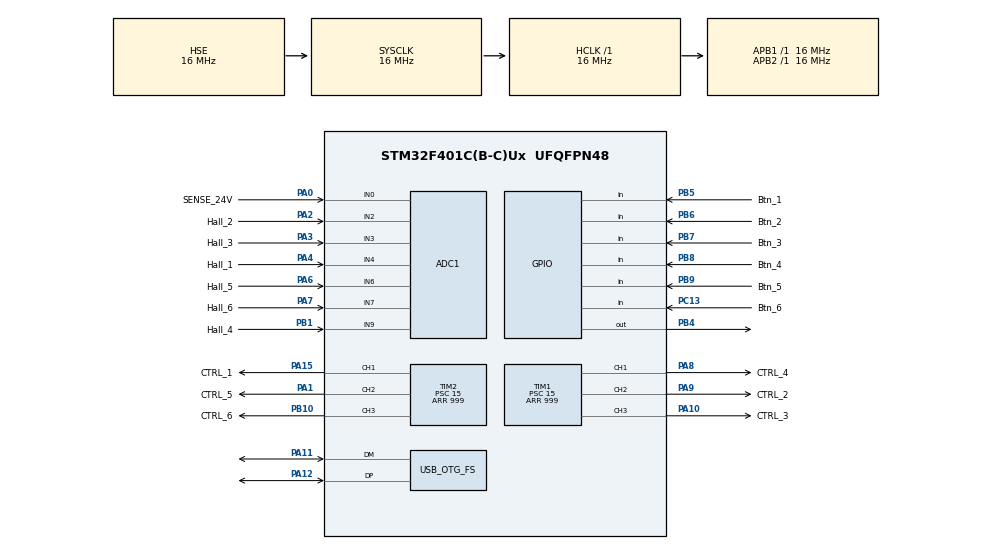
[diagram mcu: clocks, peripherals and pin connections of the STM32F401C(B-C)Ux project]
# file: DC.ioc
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ADC1.Channel-0\#ChannelRegularConversion=ADC_CHANNEL_4
ADC1.Channel-1\#ChannelRegularConversion=ADC_CHANNEL_2
ADC1.Channel-2\#ChannelRegularConversion=ADC_CHANNEL_3
ADC1.Channel-3\#ChannelRegularConversion=ADC_CHANNEL_9
ADC1.Channel-4\#ChannelRegularConversion=ADC_CHANNEL_6
ADC1.Channel-5\#ChannelRegularConversion=ADC_CHANNEL_7
ADC1.Channel-6\#ChannelRegularConversion=ADC_CHANNEL_0
ADC1.DMAContinuousRequests=ENABLE
ADC1.EOCSelection=ADC_EOC_SEQ_CONV
ADC1.ExternalTrigConv=ADC_EXTERNALTRIGCONV_T3_TRGO
ADC1.NbrOfConversion=7
ADC1.NbrOfConversionFlag=1
ADC1.Rank-0\#ChannelRegularConversion=1
ADC1.Rank-1\#ChannelRegularConversion=2
ADC1.Rank-2\#ChannelRegularConversion=3
ADC1.Rank-3\#ChannelRegularConversion=4
ADC1.Rank-4\#ChannelRegularConversion=5
ADC1.Rank-5\#ChannelRegularConversion=6
ADC1.Rank-6\#ChannelRegularConversion=7
ADC1.SamplingTime-0\#ChannelRegularConversion=ADC_SAMPLETIME_144CYCLES
ADC1.SamplingTime-1\#ChannelRegularConversion=ADC_SAMPLETIME_144CYCLES
ADC1.SamplingTime-2\#ChannelRegularConversion=ADC_SAMPLETIME_144CYCLES
ADC1.SamplingTime-3\#ChannelRegularConversion=ADC_SAMPLETIME_144CYCLES
ADC1.SamplingTime-4\#ChannelRegularConversion=ADC_SAMPLETIME_144CYCLES
ADC1.SamplingTime-5\#ChannelRegularConversion=ADC_SAMPLETIME_144CYCLES
ADC1.SamplingTime-6\#ChannelRegularConversion=ADC_SAMPLETIME_144CYCLES
ADC1.ScanConvMode=ENABLE
ADC1.master=1
Dma.ADC1.0.Direction=DMA_PERIPH_TO_MEMORY
Dma.ADC1.0.FIFOMode=DMA_FIFOMODE_DISABLE
Dma.ADC1.0.Instance=DMA2_Stream0
Dma.ADC1.0.MemDataAlignment=DMA_MDATAALIGN_HALFWORD
Dma.ADC1.0.MemInc=DMA_MINC_ENABLE
Dma.ADC1.0.Mode=DMA_CIRCULAR
Dma.ADC1.0.PeriphDataAlignment=DMA_PDATAALIGN_HALFWORD
Dma.ADC1.0.PeriphInc=DMA_PINC_DISABLE
Dma.ADC1.0.Priority=DMA_PRIORITY_LOW
Dma.Request0=ADC1
IWDG.Prescaler=IWDG_PRESCALER_16
IWDG.Reload=1000
Mcu.Family=STM32F4
Mcu.Name=STM32F401C(B-C)Ux
Mcu.Package=UFQFPN48
NVIC.DMA2_Stream0_IRQn=true\:0\:0\:false\:false\:true\:false\:true\:true
NVIC.OTG_FS_IRQn=true\:0\:0\:false\:false\:true\:false\:true\:true
NVIC.PriorityGroup=NVIC_PRIORITYGROUP_4
NVIC.TIM2_IRQn=true\:0\:0\:false\:false\:true\:true\:true\:true
PA0-WKUP.GPIO_Label=SENSE_24V
PA0-WKUP.Signal=ADCx_IN0
PA1.GPIO_Label=CTRL_5
PA1.Signal=S_TIM2_CH2
PA10.GPIO_Label=CTRL_3
PA10.Signal=S_TIM1_CH3
PA11.Mode=Device_Only
PA11.Signal=USB_OTG_FS_DM
PA12.Mode=Device_Only
PA12.Signal=USB_OTG_FS_DP
PA13.Mode=Trace_Asynchronous_SW
PA13.Signal=SYS_JTMS-SWDIO
PA14.Mode=Trace_Asynchronous_SW
PA14.Signal=SYS_JTCK-SWCLK
PA15.GPIO_Label=CTRL_1
PA15.Signal=S_TIM2_CH1_ETR
PA2.GPIO_Label=Hall_2
PA2.Signal=ADCx_IN2
PA3.GPIO_Label=Hall_3
PA3.Signal=ADCx_IN3
PA4.GPIO_Label=Hall_1
PA4.Signal=ADCx_IN4
PA6.GPIO_Label=Hall_5
PA6.Signal=ADCx_IN6
PA7.GPIO_Label=Hall_6
PA7.Signal=ADCx_IN7
PA8.GPIO_Label=CTRL_4
PA8.Signal=S_TIM1_CH1
PA9.GPIO_Label=CTRL_2
PA9.Signal=S_TIM1_CH2
PB1.GPIO_Label=Hall_4
PB1.Signal=ADCx_IN9
PB10.GPIO_Label=CTRL_6
PB10.Signal=S_TIM2_CH3
PB3.Mode=Trace_Asynchronous_SW
PB3.Signal=SYS_JTDO-SWO
PB4.Signal=GPIO_Output
PB5.GPIO_Label=Btn_1
PB5.GPIO_PuPd=GPIO_PULLUP
PB5.Signal=GPIO_Input
PB6.GPIO_Label=Btn_2
PB6.Signal=GPIO_Input
PB7.GPIO_Label=Btn_3
PB7.Signal=GPIO_Input
PB8.GPIO_Label=Btn_4
PB8.GPIO_PuPd=GPIO_PULLUP
PB8.Signal=GPIO_Input
PB9.GPIO_Label=Btn_5
PB9.GPIO_PuPd=GPIO_PULLUP
PB9.Signal=GPIO_Input
PC13-ANTI_TAMP.GPIO_Label=Btn_6
PC13-ANTI_TAMP.Signal=GPIO_Input
PH0\ -\ OSC_IN.Mode=HSE-External-Oscillator
PH0\ -\ OSC_IN.Signal=RCC_OSC_IN
PH1\ -\ OSC_OUT.Mode=HSE-External-Oscillator
PH1\ -\ OSC_OUT.Signal=RCC_OSC_OUT
ProjectManager.HeapSize=0x600
ProjectManager.StackSize=0x400
ProjectManager.TargetToolchain=Makefile
RCC.48MHZClocksFreq_Value=48000000
RCC.AHBFreq_Value=16000000
RCC.APB1Freq_Value=16000000
RCC.APB2Freq_Value=16000000
RCC.CortexFreq_Value=16000000
RCC.HSE_VALUE=16000000
RCC.HSI_VALUE=16000000
RCC.LSE_VALUE=32768
RCC.PLLM=8
RCC.PLLN=72
RCC.PLLQ=3
RCC.SYSCLKFreq_VALUE=16000000
RCC.SYSCLKSource=RCC_SYSCLKSOURCE_HSE
RCC.VCOOutputFreq_Value=144000000
SH.ADCx_IN0.0=ADC1_IN0,IN0
SH.ADCx_IN2.0=ADC1_IN2,IN2
SH.ADCx_IN3.0=ADC1_IN3,IN3
SH.ADCx_IN4.0=ADC1_IN4,IN4
SH.ADCx_IN6.0=ADC1_IN6,IN6
SH.ADCx_IN7.0=ADC1_IN7,IN7
SH.ADCx_IN9.0=ADC1_IN9,IN9
SH.S_TIM1_CH1.0=TIM1_CH1,PWM Generation1 CH1
SH.S_TIM1_CH2.0=TIM1_CH2,PWM Generation2 CH2
SH.S_TIM1_CH3.0=TIM1_CH3,PWM Generation3 CH3
SH.S_TIM2_CH1_ETR.0=TIM2_CH1,PWM Generation1 CH1
SH.S_TIM2_CH2.0=TIM2_CH2,PWM Generation2 CH2
SH.S_TIM2_CH3.0=TIM2_CH3,PWM Generation3 CH3
TIM1.Channel-PWM\ Generation1\ CH1=TIM_CHANNEL_1
TIM1.Channel-PWM\ Generation2\ CH2=TIM_CHANNEL_2
TIM1.Channel-PWM\ Generation3\ CH3=TIM_CHANNEL_3
TIM1.Period=999
TIM1.Prescaler=15
TIM2.Channel-PWM\ Generation1\ CH1=TIM_CHANNEL_1
TIM2.Channel-PWM\ Generation2\ CH2=TIM_CHANNEL_2
TIM2.Channel-PWM\ Generation3\ CH3=TIM_CHANNEL_3
TIM2.Period=999
TIM2.Prescaler=15
TIM2.TIM_MasterOutputTrigger=TIM_TRGO_RESET
TIM2.TIM_MasterSlaveMode=TIM_MASTERSLAVEMODE_DISABLE
TIM3.Period=9
TIM3.Prescaler=399
TIM3.TIM_MasterOutputTrigger=TIM_TRGO_UPDATE
TIM3.TIM_MasterSlaveMode=TIM_MASTERSLAVEMODE_ENABLE
USB_DEVICE.CLASS_NAME_FS=CDC
USB_DEVICE.VirtualMode=Cdc
USB_DEVICE.VirtualModeFS=Cdc_FS
USB_OTG_FS.VirtualMode=Device_Only
VP_CRC_VS_CRC.Mode=CRC_Activate
VP_IWDG_VS_IWDG.Mode=IWDG_Activate
VP_TIM1_VS_ClockSourceINT.Mode=Internal
VP_TIM2_VS_ClockSourceINT.Mode=Internal
VP_TIM3_VS_ClockSourceINT.Mode=Internal
VP_USB_DEVICE_VS_USB_DEVICE_CDC_FS.Mode=CDC_FS
board=custom

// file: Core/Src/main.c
/* USER CODE BEGIN Header */
/**
  ******************************************************************************
  * @file           : main.c
  * @brief          : Main program body
  ******************************************************************************
  * @attention
  *
  * <h2><center>&copy; Copyright (c) 2021 STMicroelectronics.
  * All rights reserved.</center></h2>
  *
  * This software component is licensed by ST under BSD 3-Clause license,
  * the "License"; You may not use this file except in compliance with the
  * License. You may obtain a copy of the License at:
  *                        opensource.org/licenses/BSD-3-Clause
  *
  ******************************************************************************
  */
/* USER CODE END Header */
#include "main.h"
#include "usb_device.h"

/* USER CODE BEGIN Includes */
#include "CAProtocolStm.h"
#include "DCBoard.h"
/* USER CODE END Includes */

ADC_HandleTypeDef hadc1;
DMA_HandleTypeDef hdma_adc1;

CRC_HandleTypeDef hcrc;

IWDG_HandleTypeDef hiwdg;

TIM_HandleTypeDef htim1;
TIM_HandleTypeDef htim2;
TIM_HandleTypeDef htim3;

void SystemClock_Config(void);
static void MX_GPIO_Init(void);
static void MX_DMA_Init(void);
static void MX_ADC1_Init(void);
static void MX_TIM2_Init(void);
static void MX_IWDG_Init(void);
static void MX_TIM1_Init(void);
static void MX_TIM3_Init(void);
static void MX_CRC_Init(void);

int main(void)
{

  /* MCU Configuration--------------------------------------------------------*/

  /* Reset of all peripherals, Initializes the Flash interface and the Systick. */
  HAL_Init();

  /* Configure the system clock */
  SystemClock_Config();

  /* USER CODE BEGIN SysInit */
  const char *bootMsg = CAonBoot();
  /* USER CODE END SysInit */

  /* Initialize all configured peripherals */
  MX_GPIO_Init();
  MX_DMA_Init();
  MX_ADC1_Init();
  MX_USB_DEVICE_Init();
  MX_TIM2_Init();
  MX_IWDG_Init();
  MX_TIM1_Init();
  MX_TIM3_Init();
  MX_CRC_Init();
  /* USER CODE BEGIN 2 */
  DCBoardInit(&hadc1, &hcrc, bootMsg);
  HAL_TIM_Base_Start_IT(&htim1);
  HAL_TIM_Base_Start_IT(&htim2);
  HAL_TIM_Base_Start_IT(&htim3);

  // Turn on PWM on channels with default always off
  HAL_TIM_PWM_Start(&htim1, TIM_CHANNEL_1);
  HAL_TIM_PWM_Start(&htim1, TIM_CHANNEL_2);
  HAL_TIM_PWM_Start(&htim1, TIM_CHANNEL_3);
  HAL_TIM_PWM_Start(&htim2, TIM_CHANNEL_1);
  HAL_TIM_PWM_Start(&htim2, TIM_CHANNEL_2);
  HAL_TIM_PWM_Start(&htim2, TIM_CHANNEL_3);

  /* USER CODE END 2 */

  /* Infinite loop */
  /* USER CODE BEGIN WHILE */
  while (1)
  {
      HAL_IWDG_Refresh(&hiwdg);
      DCBoardLoop(bootMsg);

    /* USER CODE END WHILE */

  }
}

void SystemClock_Config(void)
{
  RCC_OscInitTypeDef RCC_OscInitStruct = {0};
  RCC_ClkInitTypeDef RCC_ClkInitStruct = {0};

  /** Configure the main internal regulator output voltage
  */
  __HAL_RCC_PWR_CLK_ENABLE();
  __HAL_PWR_VOLTAGESCALING_CONFIG(PWR_REGULATOR_VOLTAGE_SCALE2);

  /** Initializes the RCC Oscillators according to the specified parameters
  * in the RCC_OscInitTypeDef structure.
  */
  RCC_OscInitStruct.OscillatorType = RCC_OSCILLATORTYPE_LSI|RCC_OSCILLATORTYPE_HSE;
  RCC_OscInitStruct.HSEState = RCC_HSE_ON;
  RCC_OscInitStruct.LSIState = RCC_LSI_ON;
  RCC_OscInitStruct.PLL.PLLState = RCC_PLL_ON;
  RCC_OscInitStruct.PLL.PLLSource = RCC_PLLSOURCE_HSE;
  RCC_OscInitStruct.PLL.PLLM = 8;
  RCC_OscInitStruct.PLL.PLLN = 72;
  RCC_OscInitStruct.PLL.PLLP = RCC_PLLP_DIV2;
  RCC_OscInitStruct.PLL.PLLQ = 3;
  if (HAL_RCC_OscConfig(&RCC_OscInitStruct) != HAL_OK)
  {
    Error_Handler();
  }

  /** Initializes the CPU, AHB and APB buses clocks
  */
  RCC_ClkInitStruct.ClockType = RCC_CLOCKTYPE_HCLK|RCC_CLOCKTYPE_SYSCLK
                              |RCC_CLOCKTYPE_PCLK1|RCC_CLOCKTYPE_PCLK2;
  RCC_ClkInitStruct.SYSCLKSource = RCC_SYSCLKSOURCE_HSE;
  RCC_ClkInitStruct.AHBCLKDivider = RCC_SYSCLK_DIV1;
  RCC_ClkInitStruct.APB1CLKDivider = RCC_HCLK_DIV1;
  RCC_ClkInitStruct.APB2CLKDivider = RCC_HCLK_DIV1;

  if (HAL_RCC_ClockConfig(&RCC_ClkInitStruct, FLASH_LATENCY_0) != HAL_OK)
  {
    Error_Handler();
  }
}

static void MX_ADC1_Init(void)
{

  ADC_ChannelConfTypeDef sConfig = {0};

  /** Configure the global features of the ADC (Clock, Resolution, Data Alignment and number of conversion)
  */
  hadc1.Instance = ADC1;
  hadc1.Init.ClockPrescaler = ADC_CLOCK_SYNC_PCLK_DIV2;
  hadc1.Init.Resolution = ADC_RESOLUTION_12B;
  hadc1.Init.ScanConvMode = ENABLE;
  hadc1.Init.ContinuousConvMode = DISABLE;
  hadc1.Init.DiscontinuousConvMode = DISABLE;
  hadc1.Init.ExternalTrigConvEdge = ADC_EXTERNALTRIGCONVEDGE_RISING;
  hadc1.Init.ExternalTrigConv = ADC_EXTERNALTRIGCONV_T3_TRGO;
  hadc1.Init.DataAlign = ADC_DATAALIGN_RIGHT;
  hadc1.Init.NbrOfConversion = 7;
  hadc1.Init.DMAContinuousRequests = ENABLE;
  hadc1.Init.EOCSelection = ADC_EOC_SEQ_CONV;
  if (HAL_ADC_Init(&hadc1) != HAL_OK)
  {
    Error_Handler();
  }

  /** Configure for the selected ADC regular channel its corresponding rank in the sequencer and its sample time.
  */
  sConfig.Channel = ADC_CHANNEL_4;
  sConfig.Rank = 1;
  sConfig.SamplingTime = ADC_SAMPLETIME_144CYCLES;
  if (HAL_ADC_ConfigChannel(&hadc1, &sConfig) != HAL_OK)
  {
    Error_Handler();
  }

  /** Configure for the selected ADC regular channel its corresponding rank in the sequencer and its sample time.
  */
  sConfig.Channel = ADC_CHANNEL_2;
  sConfig.Rank = 2;
  if (HAL_ADC_ConfigChannel(&hadc1, &sConfig) != HAL_OK)
  {
    Error_Handler();
  }

  /** Configure for the selected ADC regular channel its corresponding rank in the sequencer and its sample time.
  */
  sConfig.Channel = ADC_CHANNEL_3;
  sConfig.Rank = 3;
  if (HAL_ADC_ConfigChannel(&hadc1, &sConfig) != HAL_OK)
  {
    Error_Handler();
  }

  /** Configure for the selected ADC regular channel its corresponding rank in the sequencer and its sample time.
  */
  sConfig.Channel = ADC_CHANNEL_9;
  sConfig.Rank = 4;
  if (HAL_ADC_ConfigChannel(&hadc1, &sConfig) != HAL_OK)
  {
    Error_Handler();
  }

  /** Configure for the selected ADC regular channel its corresponding rank in the sequencer and its sample time.
  */
  sConfig.Channel = ADC_CHANNEL_6;
  sConfig.Rank = 5;
  if (HAL_ADC_ConfigChannel(&hadc1, &sConfig) != HAL_OK)
  {
    Error_Handler();
  }

  /** Configure for the selected ADC regular channel its corresponding rank in the sequencer and its sample time.
  */
  sConfig.Channel = ADC_CHANNEL_7;
  sConfig.Rank = 6;
  if (HAL_ADC_ConfigChannel(&hadc1, &sConfig) != HAL_OK)
  {
    Error_Handler();
  }

  /** Configure for the selected ADC regular channel its corresponding rank in the sequencer and its sample time.
  */
  sConfig.Channel = ADC_CHANNEL_0;
  sConfig.Rank = 7;
  if (HAL_ADC_ConfigChannel(&hadc1, &sConfig) != HAL_OK)
  {
    Error_Handler();
  }

}

static void MX_CRC_Init(void)
{

  hcrc.Instance = CRC;
  if (HAL_CRC_Init(&hcrc) != HAL_OK)
  {
    Error_Handler();
  }

}

static void MX_IWDG_Init(void)
{

  hiwdg.Instance = IWDG;
  hiwdg.Init.Prescaler = IWDG_PRESCALER_16;
  hiwdg.Init.Reload = 1000;
  if (HAL_IWDG_Init(&hiwdg) != HAL_OK)
  {
    Error_Handler();
  }

}

static void MX_TIM1_Init(void)
{

  TIM_ClockConfigTypeDef sClockSourceConfig = {0};
  TIM_MasterConfigTypeDef sMasterConfig = {0};
  TIM_OC_InitTypeDef sConfigOC = {0};
  TIM_BreakDeadTimeConfigTypeDef sBreakDeadTimeConfig = {0};

  htim1.Instance = TIM1;
  htim1.Init.Prescaler = 15;
  htim1.Init.CounterMode = TIM_COUNTERMODE_UP;
  htim1.Init.Period = 999;
  htim1.Init.ClockDivision = TIM_CLOCKDIVISION_DIV1;
  htim1.Init.RepetitionCounter = 0;
  htim1.Init.AutoReloadPreload = TIM_AUTORELOAD_PRELOAD_DISABLE;
  if (HAL_TIM_Base_Init(&htim1) != HAL_OK)
  {
    Error_Handler();
  }
  sClockSourceConfig.ClockSource = TIM_CLOCKSOURCE_INTERNAL;
  if (HAL_TIM_ConfigClockSource(&htim1, &sClockSourceConfig) != HAL_OK)
  {
    Error_Handler();
  }
  if (HAL_TIM_PWM_Init(&htim1) != HAL_OK)
  {
    Error_Handler();
  }
  sMasterConfig.MasterOutputTrigger = TIM_TRGO_RESET;
  sMasterConfig.MasterSlaveMode = TIM_MASTERSLAVEMODE_DISABLE;
  if (HAL_TIMEx_MasterConfigSynchronization(&htim1, &sMasterConfig) != HAL_OK)
  {
    Error_Handler();
  }
  sConfigOC.OCMode = TIM_OCMODE_PWM1;
  sConfigOC.Pulse = 0;
  sConfigOC.OCPolarity = TIM_OCPOLARITY_HIGH;
  sConfigOC.OCNPolarity = TIM_OCNPOLARITY_HIGH;
  sConfigOC.OCFastMode = TIM_OCFAST_DISABLE;
  sConfigOC.OCIdleState = TIM_OCIDLESTATE_RESET;
  sConfigOC.OCNIdleState = TIM_OCNIDLESTATE_RESET;
  if (HAL_TIM_PWM_ConfigChannel(&htim1, &sConfigOC, TIM_CHANNEL_1) != HAL_OK)
  {
    Error_Handler();
  }
  if (HAL_TIM_PWM_ConfigChannel(&htim1, &sConfigOC, TIM_CHANNEL_2) != HAL_OK)
  {
    Error_Handler();
  }
  if (HAL_TIM_PWM_ConfigChannel(&htim1, &sConfigOC, TIM_CHANNEL_3) != HAL_OK)
  {
    Error_Handler();
  }
  sBreakDeadTimeConfig.OffStateRunMode = TIM_OSSR_DISABLE;
  sBreakDeadTimeConfig.OffStateIDLEMode = TIM_OSSI_DISABLE;
  sBreakDeadTimeConfig.LockLevel = TIM_LOCKLEVEL_OFF;
  sBreakDeadTimeConfig.DeadTime = 0;
  sBreakDeadTimeConfig.BreakState = TIM_BREAK_DISABLE;
  sBreakDeadTimeConfig.BreakPolarity = TIM_BREAKPOLARITY_HIGH;
  sBreakDeadTimeConfig.AutomaticOutput = TIM_AUTOMATICOUTPUT_DISABLE;
  if (HAL_TIMEx_ConfigBreakDeadTime(&htim1, &sBreakDeadTimeConfig) != HAL_OK)
  {
    Error_Handler();
  }
  HAL_TIM_MspPostInit(&htim1);

}

static void MX_TIM2_Init(void)
{

  TIM_ClockConfigTypeDef sClockSourceConfig = {0};
  TIM_MasterConfigTypeDef sMasterConfig = {0};
  TIM_OC_InitTypeDef sConfigOC = {0};

  htim2.Instance = TIM2;
  htim2.Init.Prescaler = 15;
  htim2.Init.CounterMode = TIM_COUNTERMODE_UP;
  htim2.Init.Period = 999;
  htim2.Init.ClockDivision = TIM_CLOCKDIVISION_DIV1;
  htim2.Init.AutoReloadPreload = TIM_AUTORELOAD_PRELOAD_DISABLE;
  if (HAL_TIM_Base_Init(&htim2) != HAL_OK)
  {
    Error_Handler();
  }
  sClockSourceConfig.ClockSource = TIM_CLOCKSOURCE_INTERNAL;
  if (HAL_TIM_ConfigClockSource(&htim2, &sClockSourceConfig) != HAL_OK)
  {
    Error_Handler();
  }
  if (HAL_TIM_PWM_Init(&htim2) != HAL_OK)
  {
    Error_Handler();
  }
  sMasterConfig.MasterOutputTrigger = TIM_TRGO_RESET;
  sMasterConfig.MasterSlaveMode = TIM_MASTERSLAVEMODE_DISABLE;
  if (HAL_TIMEx_MasterConfigSynchronization(&htim2, &sMasterConfig) != HAL_OK)
  {
    Error_Handler();
  }
  sConfigOC.OCMode = TIM_OCMODE_PWM1;
  sConfigOC.Pulse = 0;
  sConfigOC.OCPolarity = TIM_OCPOLARITY_HIGH;
  sConfigOC.OCFastMode = TIM_OCFAST_DISABLE;
  if (HAL_TIM_PWM_ConfigChannel(&htim2, &sConfigOC, TIM_CHANNEL_1) != HAL_OK)
  {
    Error_Handler();
  }
  if (HAL_TIM_PWM_ConfigChannel(&htim2, &sConfigOC, TIM_CHANNEL_2) != HAL_OK)
  {
    Error_Handler();
  }
  if (HAL_TIM_PWM_ConfigChannel(&htim2, &sConfigOC, TIM_CHANNEL_3) != HAL_OK)
  {
    Error_Handler();
  }
  HAL_TIM_MspPostInit(&htim2);

}

static void MX_TIM3_Init(void)
{

  TIM_ClockConfigTypeDef sClockSourceConfig = {0};
  TIM_MasterConfigTypeDef sMasterConfig = {0};

  htim3.Instance = TIM3;
  htim3.Init.Prescaler = 399;
  htim3.Init.CounterMode = TIM_COUNTERMODE_UP;
  htim3.Init.Period = 9;
  htim3.Init.ClockDivision = TIM_CLOCKDIVISION_DIV1;
  htim3.Init.AutoReloadPreload = TIM_AUTORELOAD_PRELOAD_DISABLE;
  if (HAL_TIM_Base_Init(&htim3) != HAL_OK)
  {
    Error_Handler();
  }
  sClockSourceConfig.ClockSource = TIM_CLOCKSOURCE_INTERNAL;
  if (HAL_TIM_ConfigClockSource(&htim3, &sClockSourceConfig) != HAL_OK)
  {
    Error_Handler();
  }
  sMasterConfig.MasterOutputTrigger = TIM_TRGO_UPDATE;
  sMasterConfig.MasterSlaveMode = TIM_MASTERSLAVEMODE_ENABLE;
  if (HAL_TIMEx_MasterConfigSynchronization(&htim3, &sMasterConfig) != HAL_OK)
  {
    Error_Handler();
  }

}

static void MX_DMA_Init(void)
{

  /* DMA controller clock enable */
  __HAL_RCC_DMA2_CLK_ENABLE();

  /* DMA interrupt init */
  /* DMA2_Stream0_IRQn interrupt configuration */
  HAL_NVIC_SetPriority(DMA2_Stream0_IRQn, 0, 0);
  HAL_NVIC_EnableIRQ(DMA2_Stream0_IRQn);

}

static void MX_GPIO_Init(void)
{
  GPIO_InitTypeDef GPIO_InitStruct = {0};

  /* GPIO Ports Clock Enable */
  __HAL_RCC_GPIOC_CLK_ENABLE();
  __HAL_RCC_GPIOH_CLK_ENABLE();
  __HAL_RCC_GPIOA_CLK_ENABLE();
  __HAL_RCC_GPIOB_CLK_ENABLE();

  /*Configure GPIO pin Output Level */
  HAL_GPIO_WritePin(GPIOB, GPIO_PIN_4, GPIO_PIN_RESET);

  /*Configure GPIO pin : Btn_6_Pin */
  GPIO_InitStruct.Pin = Btn_6_Pin;
  GPIO_InitStruct.Mode = GPIO_MODE_INPUT;
  GPIO_InitStruct.Pull = GPIO_NOPULL;
  HAL_GPIO_Init(Btn_6_GPIO_Port, &GPIO_InitStruct);

  /*Configure GPIO pin : PB4 */
  GPIO_InitStruct.Pin = GPIO_PIN_4;
  GPIO_InitStruct.Mode = GPIO_MODE_OUTPUT_PP;
  GPIO_InitStruct.Pull = GPIO_NOPULL;
  GPIO_InitStruct.Speed = GPIO_SPEED_FREQ_LOW;
  HAL_GPIO_Init(GPIOB, &GPIO_InitStruct);

  /*Configure GPIO pins : Btn_1_Pin Btn_4_Pin Btn_5_Pin */
  GPIO_InitStruct.Pin = Btn_1_Pin|Btn_4_Pin|Btn_5_Pin;
  GPIO_InitStruct.Mode = GPIO_MODE_INPUT;
  GPIO_InitStruct.Pull = GPIO_PULLUP;
  HAL_GPIO_Init(GPIOB, &GPIO_InitStruct);

  /*Configure GPIO pins : Btn_2_Pin Btn_3_Pin */
  GPIO_InitStruct.Pin = Btn_2_Pin|Btn_3_Pin;
  GPIO_InitStruct.Mode = GPIO_MODE_INPUT;
  GPIO_InitStruct.Pull = GPIO_NOPULL;
  HAL_GPIO_Init(GPIOB, &GPIO_InitStruct);

}

void Error_Handler(void)
{
  __disable_irq();
  while (1)
  {
  }
}
